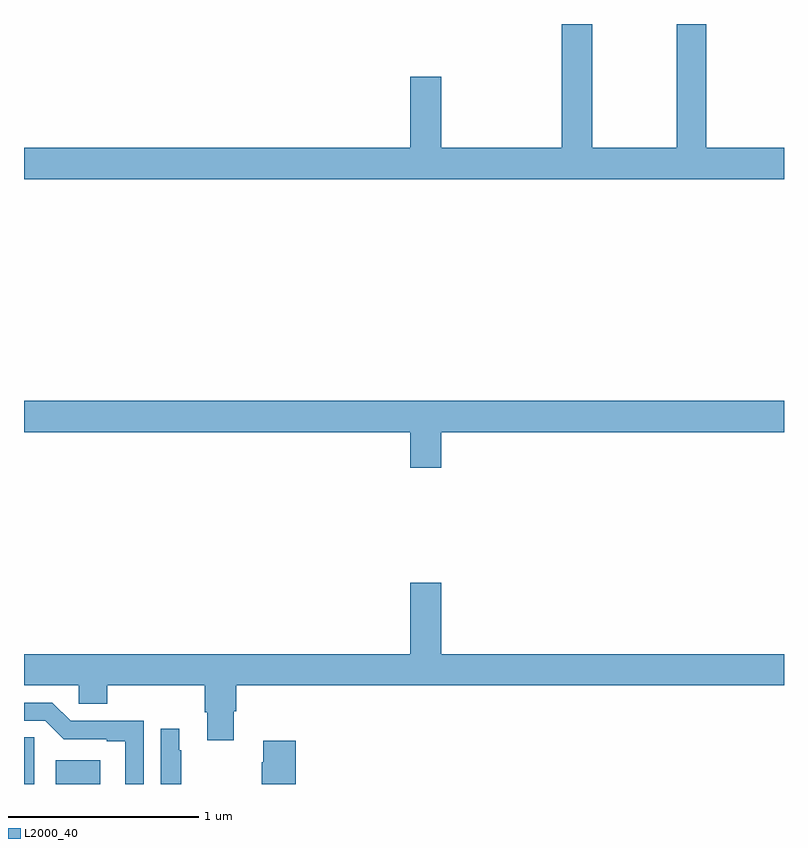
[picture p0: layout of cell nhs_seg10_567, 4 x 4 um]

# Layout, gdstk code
import gdstk
lib = gdstk.Library(unit=1e-6, precision=1e-09)
def R(c, l, rs):  # rectangles x0, y0, x1, y1
    for r in rs: c.add(gdstk.rectangle(r[:2], r[2:], *l))
def P(c, l, *ps):  # polygons
    for p in ps: c.add(gdstk.Polygon(p, *l))
L2000_40 = (2000, 40)

nhs_seg10_567 = lib.new_cell('nhs_seg10_567')
R(nhs_seg10_567, L2000_40, [(139.166,1262.5,139.402,1262.626)])
P(nhs_seg10_567, L2000_40, [(143,1265.848),(142.59,1265.848),(142.59,1266.5),(142.435,1266.5),(142.435,1265.848),(141.99,1265.848),(141.99,1266.5),(141.83,1266.5),(141.83,1265.848),(141.196,1265.848),(141.196,1266.223),(141.032,1266.223),(141.032,1265.848),(139,1265.848),(139,1265.684),(143,1265.684)],
  [(141.196,1264.352),(143,1264.352),(143,1264.516),(139,1264.516),(139,1264.352),(141.032,1264.352),(141.032,1264.164),(141.196,1264.164)],
  [(140.104,1262.883),(140.117,1262.883),(140.117,1263.02),(143,1263.02),(143,1263.184),(141.196,1263.184),(141.196,1263.559),(141.032,1263.559),(141.032,1263.184),(139,1263.184),(139,1263.02),(139.287,1263.02),(139.287,1262.922),(139.439,1262.922),(139.439,1263.02),(139.952,1263.02),(139.952,1262.878),(139.964,1262.878),(139.964,1262.73),(140.104,1262.73)],
  [(139.629,1262.832),(139.245,1262.832),(139.149,1262.928),(139,1262.928),(139,1262.832),(139.113,1262.832),(139.209,1262.736),(139.436,1262.736),(139.436,1262.724),(139.532,1262.724),(139.532,1262.5),(139.629,1262.5)],
  [(139.828,1262.678),(139.816,1262.678),(139.816,1262.791),(139.719,1262.791),(139.719,1262.5),(139.828,1262.5)],
  [(139.054,1262.636),(139.053,1262.636),(139.053,1262.747),(139,1262.747),(139,1262.5),(139.054,1262.5)],
  [(140.429,1262.728),(140.258,1262.728),(140.258,1262.615),(140.251,1262.615),(140.251,1262.5),(140.429,1262.5)])

lib.write_gds('nhs_seg10_567.gds')
